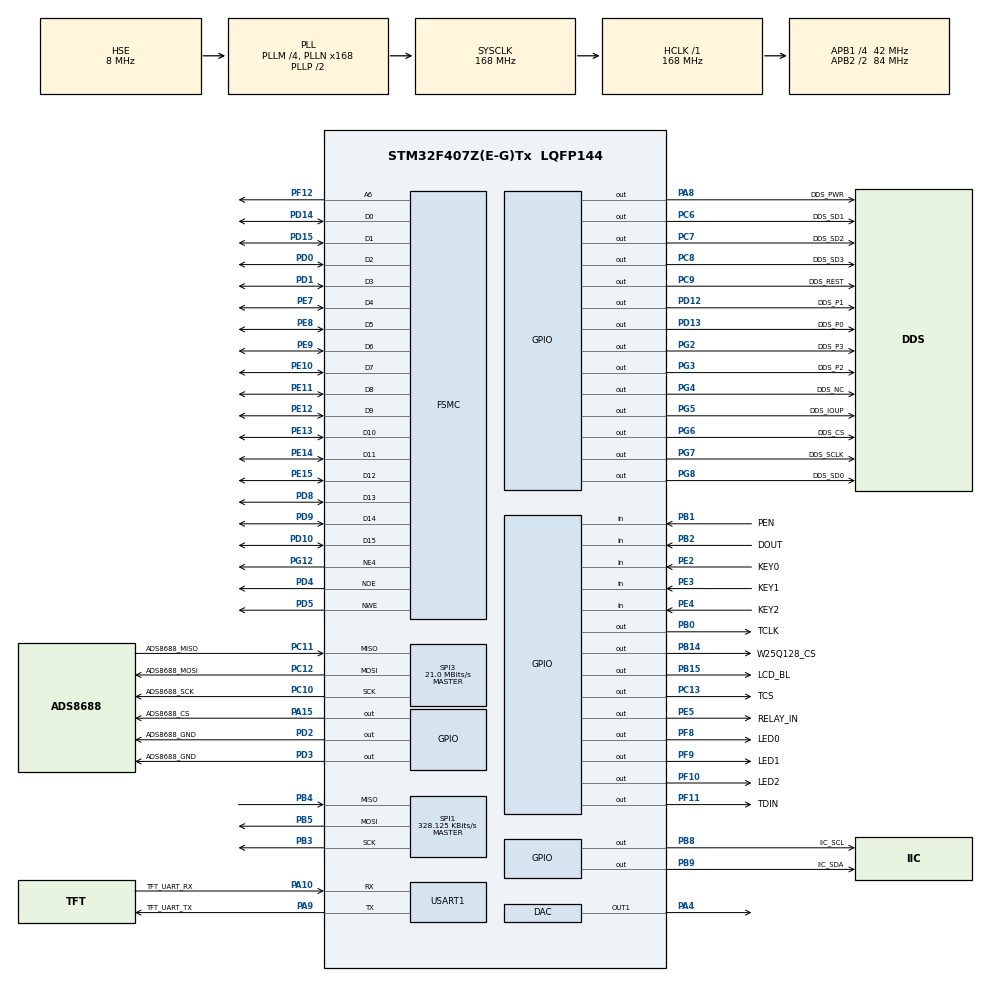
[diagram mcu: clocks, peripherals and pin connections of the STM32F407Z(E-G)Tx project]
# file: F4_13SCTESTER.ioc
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Dma.SPI3_RX.0.Priority=DMA_PRIORITY_LOW
Dma.SPI3_RX.0.FIFOMode=DMA_FIFOMODE_DISABLE
PD12.GPIO_Label=DDS_P1
PH0-OSC_IN.Signal=RCC_OSC_IN
PF10.GPIO_ModeDefaultOutputPP=GPIO_MODE_OUTPUT_PP
SH.FSMC_D1_DA1.0=FSMC_D1,16b-d1
SPI3.Direction=SPI_DIRECTION_2LINES
SPI3.VirtualType=VM_MASTER
SPI1.VirtualType=VM_MASTER
PG4.Signal=GPIO_Output
PG8.Signal=GPIO_Output
PC12.Signal=SPI3_MOSI
PB14.GPIO_Label=W25Q128_CS
PG6.GPIO_Label=DDS_CS
SH.FSMC_NWE.0=FSMC_NWE,Lcd1
PE8.GPIO_PuPd=GPIO_PULLUP
PC6.GPIO_Label=DDS_SD1
PE10.GPIO_PuPd=GPIO_PULLUP
PD10.GPIO_PuPd=GPIO_PULLUP
FSMC.ExtendedBusTurnAroundDuration1=0
PF10.GPIO_PuPd=GPIO_PULLUP
PF8.PinState=GPIO_PIN_SET
PB3.GPIO_Speed=GPIO_SPEED_FREQ_VERY_HIGH
RCC.SYSCLKSource=RCC_SYSCLKSOURCE_PLLCLK
FREERTOS.configENABLE_FPU=1
SPI1.Direction=SPI_DIRECTION_2LINES
PD4.Signal=FSMC_NOE
RCC.APB2TimFreq_Value=168000000
PC7.Signal=GPIO_Output
SPI1.CalculateBaudRate=328.125 KBits/s
PD0.Signal=FSMC_D2_DA2
PD8.Signal=FSMC_D13_DA13
PE5.Signal=GPIO_Output
Dma.SPI3_RX.0.PeriphDataAlignment=DMA_PDATAALIGN_HALFWORD
PF10.GPIO_Label=LED2
Dma.SPI3_RX.0.Direction=DMA_PERIPH_TO_MEMORY
PB2.Signal=GPIO_Input
PB3.Mode=Full_Duplex_Master
PC13-ANTI_TAMP.Signal=GPIO_Output
Dma.SPI3_RX.0.MemDataAlignment=DMA_MDATAALIGN_HALFWORD
SH.FSMC_D10_DA10.0=FSMC_D10,16b-d1
PF8.GPIO_ModeDefaultOutputPP=GPIO_MODE_OUTPUT_PP
PE9.Signal=FSMC_D6_DA6
PB1.GPIO_Label=PEN
NVIC.TIM2_IRQn=true\:0\:0\:false\:false\:true\:false\:false\:true
PG4.GPIO_Label=DDS_NC
PE4.GPIO_Label=KEY2
PE5.PinState=GPIO_PIN_SET
PE2.Signal=GPIO_Input
PD14.GPIO_PuPd=GPIO_PULLUP
PA8.Signal=GPIO_Output
FSMC.BusTurnAroundDuration1=0
PE10.Signal=FSMC_D7_DA7
SH.FSMC_D5_DA5.0=FSMC_D5,16b-d1
PB2.GPIO_PuPd=GPIO_PULLUP
VP_TIM1_VS_ClockSourceINT.Mode=Internal
Mcu.Package=LQFP144
PB9.Signal=GPIO_Output
VP_SYS_VS_tim2.Mode=TIM2
PB1.Signal=GPIO_Input
PB14.GPIO_PuPd=GPIO_PULLUP
NVIC.TimeBase=TIM2_IRQn
SPI3.Mode=SPI_MODE_MASTER
PD12.Signal=GPIO_Output
NVIC.TimeBaseIP=TIM2
PA10.Signal=USART1_RX
PB9.GPIO_PuPd=GPIO_PULLUP
PC8.GPIO_Speed=GPIO_SPEED_FREQ_VERY_HIGH
PC11.Mode=Full_Duplex_Master
PB5.GPIO_Speed=GPIO_SPEED_FREQ_VERY_HIGH
PG8.GPIO_Speed=GPIO_SPEED_FREQ_VERY_HIGH
RCC.APB2CLKDivider=RCC_HCLK_DIV2
SH.FSMC_D3_DA3.0=FSMC_D3,16b-d1
PG12.GPIO_PuPd=GPIO_PULLUP
RCC.APB1TimFreq_Value=84000000
TIM1.Period=105-1
PF9.GPIO_PuPd=GPIO_PULLUP
NVIC.USART1_IRQn=true\:5\:0\:false\:false\:true\:true\:true\:true
PD9.GPIO_PuPd=GPIO_PULLUP
PC6.GPIO_Speed=GPIO_SPEED_FREQ_VERY_HIGH
PA8.GPIO_Speed=GPIO_SPEED_FREQ_VERY_HIGH
PD15.Signal=FSMC_D1_DA1
PG6.GPIO_Speed=GPIO_SPEED_FREQ_VERY_HIGH
PE12.GPIO_PuPd=GPIO_PULLUP
PG12.Signal=FSMC_NE4
FSMC.ExtendedAddressSetupTime1=9
Dma.SPI3_TX.1.MemInc=DMA_MINC_ENABLE
FREERTOS.Tasks01=defaultTask,8,128,StartDefaultTask,Default,NULL,Dynamic,NULL,NULL;LED0_Toggle,44,128,StartLED0Toggle,As weak,NULL,Dynamic,NULL,NULL;LED1_Toggle,52,128,StartLED1Toggle,As weak,NULL,Dynamic,NULL,NULL;TFT_CMD_Process,11,128,TFT_CMD_Process_Start,As weak,NULL,Dynamic,NULL,NULL;FLASH_Data_Auto,10,128,FLASH_Data_AutoUpdate_Start,As weak,NULL,Dynamic,NULL,NULL
PC13-ANTI_TAMP.GPIO_Label=TCS
PG5.Signal=GPIO_Output
PA9.GPIO_Label=TFT_UART_TX
PD3.Signal=GPIO_Output
PB8.GPIO_PuPd=GPIO_PULLUP
PC6.Signal=GPIO_Output
PD1.Signal=FSMC_D3_DA3
SH.FSMC_D9_DA9.0=FSMC_D9,16b-d1
SPI1.CLKPhase=SPI_PHASE_2EDGE
PD1.GPIO_PuPd=GPIO_PULLUP
Dma.SPI3_TX.1.Priority=DMA_PRIORITY_LOW
RCC.APB1CLKDivider=RCC_HCLK_DIV4
PA0-WKUP.Signal=SYS_WKUP
SH.FSMC_D8_DA8.0=FSMC_D8,16b-d1
PF8.GPIO_Label=LED0
PD10.Signal=FSMC_D15_DA15
PF11.GPIO_Speed=GPIO_SPEED_FREQ_VERY_HIGH
PA0-WKUP.Mode=SYS_WakeUp0
PB8.GPIO_Label=IIC_SCL
PA8.GPIO_Label=DDS_PWR
PB14.GPIO_Speed=GPIO_SPEED_FREQ_VERY_HIGH
FSMC.DataSetupTime1=60
PB1.GPIO_Mode=GPIO_MODE_INPUT
PA9.Signal=USART1_TX
Dma.SPI3_TX.1.MemDataAlignment=DMA_MDATAALIGN_HALFWORD
PB4.GPIO_PuPd=GPIO_PULLUP
PB14.Signal=GPIO_Output
PE2.GPIO_PuPd=GPIO_PULLUP
PC12.Mode=Full_Duplex_Master
SH.FSMC_D7_DA7.0=FSMC_D7,16b-d1
PE14.Signal=FSMC_D11_DA11
PE15.Signal=FSMC_D12_DA12
PB15.GPIO_Label=LCD_BL
PE8.Signal=FSMC_D5_DA5
SPI1.Mode=SPI_MODE_MASTER
PG7.GPIO_Label=DDS_SCLK
PE3.GPIO_PuPd=GPIO_PULLUP
PA13.Mode=Serial_Wire
PE4.GPIO_PuPd=GPIO_PULLUP
PC7.GPIO_Label=DDS_SD2
Dma.SPI3_TX.1.PeriphInc=DMA_PINC_DISABLE
PA4.Signal=COMP_DAC1_group
PB5.Signal=SPI1_MOSI
PB5.GPIO_PuPd=GPIO_PULLUP
PE5.GPIO_Label=RELAY_IN
PC12.GPIO_Label=ADS8688_MOSI
USART1.VirtualMode=VM_ASYNC
SH.FSMC_D15_DA15.0=FSMC_D15,16b-d1
ProjectManager.HeapSize=0x200
PD0.GPIO_PuPd=GPIO_PULLUP
NVIC.TIM1_UP_TIM10_IRQn=true\:5\:0\:false\:false\:true\:true\:true\:true
PF9.Signal=GPIO_Output
PF9.GPIO_ModeDefaultOutputPP=GPIO_MODE_OUTPUT_PP
PC9.GPIO_Speed=GPIO_SPEED_FREQ_VERY_HIGH
NVIC.PriorityGroup=NVIC_PRIORITYGROUP_4
PE3.Signal=GPIO_Input
PF12.GPIO_PuPd=GPIO_PULLUP
PG3.GPIO_Label=DDS_P2
PD2.Signal=GPIO_Output
PG5.GPIO_Speed=GPIO_SPEED_FREQ_VERY_HIGH
PF10.PinState=GPIO_PIN_SET
PB0.Signal=GPIO_Output
PD2.GPIO_Label=ADS8688_GND
Mcu.Family=STM32F4
FSMC.AddressSetupTime1=0x0f
PE7.GPIO_PuPd=GPIO_PULLUP
RCC.CortexFreq_Value=168000000
PG6.Signal=GPIO_Output
SH.FSMC_A6.0=FSMC_A6,A6_1
PG2.Signal=GPIO_Output
PC10.Signal=SPI3_SCK
SH.FSMC_D0_DA0.0=FSMC_D0,16b-d1
PF9.GPIO_Speed=GPIO_SPEED_FREQ_VERY_HIGH
PB0.GPIO_Label=TCLK
PD8.GPIO_PuPd=GPIO_PULLUP
PG5.GPIO_Label=DDS_IOUP
PB15.Signal=GPIO_Output
ProjectManager.StackSize=0x400
PG2.GPIO_Speed=GPIO_SPEED_FREQ_VERY_HIGH
VP_FREERTOS_VS_CMSIS_V2.Mode=CMSIS_V2
PD13.Signal=GPIO_Output
PA15.GPIO_Label=ADS8688_CS
Dma.SPI3_RX.0.MemInc=DMA_MINC_ENABLE
TIM1.Prescaler=25-1
SPI1.CLKPolarity=SPI_POLARITY_HIGH
PE5.GPIO_PuPd=GPIO_NOPULL
PE11.GPIO_PuPd=GPIO_PULLUP
PB1.GPIO_PuPd=GPIO_PULLUP
RCC.HCLKFreq_Value=168000000
PF11.GPIO_Label=TDIN
PF12.Signal=FSMC_A6
RCC.AHBFreq_Value=168000000
PH0-OSC_IN.Mode=HSE-External-Oscillator
SPI3.DataSize=SPI_DATASIZE_16BIT
RCC.HSE_VALUE=8000000
PE13.GPIO_PuPd=GPIO_PULLUP
PB3.GPIO_PuPd=GPIO_PULLUP
PB4.Mode=Full_Duplex_Master
PE13.Signal=FSMC_D10_DA10
SH.FSMC_D14_DA14.0=FSMC_D14,16b-d1
PG4.GPIO_Speed=GPIO_SPEED_FREQ_VERY_HIGH
PF8.GPIO_PuPd=GPIO_PULLUP
PA14.Mode=Serial_Wire
PF11.Signal=GPIO_Output
SH.FSMC_D6_DA6.0=FSMC_D6,16b-d1
PC11.GPIO_Label=ADS8688_MISO
PB5.Mode=Full_Duplex_Master
PA10.GPIO_Label=TFT_UART_RX
PE4.Signal=GPIO_Input
SH.FSMC_D4_DA4.0=FSMC_D4,16b-d1
PH1-OSC_OUT.Mode=HSE-External-Oscillator
PD13.GPIO_Label=DDS_P0
PB15.GPIO_PuPd=GPIO_PULLUP
PD15.GPIO_PuPd=GPIO_PULLUP
SH.FSMC_D13_DA13.0=FSMC_D13,16b-d1
PA15.Signal=GPIO_Output
PF8.Signal=GPIO_Output
Dma.SPI3_TX.1.Direction=DMA_MEMORY_TO_PERIPH
PB9.GPIO_Speed=GPIO_SPEED_FREQ_VERY_HIGH
Dma.Request1=SPI3_TX
NVIC.DMA1_Stream0_IRQn=true\:5\:0\:false\:false\:true\:true\:false\:true
SH.FSMC_D2_DA2.0=FSMC_D2,16b-d1
PD3.GPIO_Label=ADS8688_GND
PE7.Signal=FSMC_D4_DA4
Dma.Request0=SPI3_RX
SPI1.BaudRatePrescaler=SPI_BAUDRATEPRESCALER_256
PE2.GPIO_Label=KEY0
PB4.Signal=SPI1_MISO
PG2.GPIO_Label=DDS_P3
RCC.PLLSourceVirtual=RCC_PLLSOURCE_HSE
SH.COMP_DAC1_group.0=DAC_OUT1,DAC_OUT1
SH.FSMC_D12_DA12.0=FSMC_D12,16b-d1
PD12.GPIO_Speed=GPIO_SPEED_FREQ_VERY_HIGH
PG7.Signal=GPIO_Output
PB9.GPIO_Label=IIC_SDA
PA10.Mode=Asynchronous
PC10.GPIO_Label=ADS8688_SCK
Dma.SPI3_RX.0.PeriphInc=DMA_PINC_DISABLE
PC9.GPIO_Label=DDS_REST
PG3.Signal=GPIO_Output
FSMC.ExtendedMode1=FSMC_EXTENDED_MODE_ENABLE
PC11.Signal=SPI3_MISO
PC8.Signal=GPIO_Output
PF10.GPIO_Speed=GPIO_SPEED_FREQ_VERY_HIGH
PC10.Mode=Full_Duplex_Master
Dma.SPI3_TX.1.FIFOMode=DMA_FIFOMODE_DISABLE
PD9.Signal=FSMC_D14_DA14
PD5.Signal=FSMC_NWE
Dma.SPI3_TX.1.Instance=DMA1_Stream5
PB0.GPIO_Speed=GPIO_SPEED_FREQ_VERY_HIGH
PG8.GPIO_Label=DDS_SD0
PC8.GPIO_Label=DDS_SD3
Dma.SPI3_RX.0.Mode=DMA_NORMAL
Dma.SPI3_TX.1.PeriphDataAlignment=DMA_PDATAALIGN_HALFWORD
PA13.Signal=SYS_JTMS-SWDIO
PD4.GPIO_PuPd=GPIO_PULLUP
PA9.Mode=Asynchronous
PB14.PinState=GPIO_PIN_SET
Dma.SPI3_TX.1.Mode=DMA_NORMAL
ProjectManager.TargetToolchain=STM32CubeIDE
NVIC.DMA1_Stream5_IRQn=true\:5\:0\:false\:false\:true\:true\:false\:true
PF9.PinState=GPIO_PIN_SET
PF9.GPIO_Label=LED1
PE11.Signal=FSMC_D8_DA8
RCC.LSE_VALUE=32768
FSMC.ExtendedDataSetupTime1=8
board=custom
PD13.GPIO_Speed=GPIO_SPEED_FREQ_VERY_HIGH
PG12.Mode=NorPsramChipSelect4_1
SPI3.CLKPhase=SPI_PHASE_2EDGE
PC7.GPIO_Speed=GPIO_SPEED_FREQ_VERY_HIGH
RCC.VCOOutputFreq_Value=336000000
PA15.PinState=GPIO_PIN_SET
PB4.GPIO_Speed=GPIO_SPEED_FREQ_VERY_HIGH
PG7.GPIO_Speed=GPIO_SPEED_FREQ_VERY_HIGH
RCC.APB2Freq_Value=84000000
SPI3.CalculateBaudRate=21.0 MBits/s
PF10.Signal=GPIO_Output
PB15.GPIO_Speed=GPIO_SPEED_FREQ_MEDIUM
SPI3.BaudRatePrescaler=SPI_BAUDRATEPRESCALER_2
PH1-OSC_OUT.Signal=RCC_OSC_OUT
PD5.GPIO_PuPd=GPIO_PULLUP
PE14.GPIO_PuPd=GPIO_PULLUP
Mcu.Name=STM32F407Z(E-G)Tx
Dma.SPI3_RX.0.Instance=DMA1_Stream0
PE12.Signal=FSMC_D9_DA9
PD14.Signal=FSMC_D0_DA0
RCC.48MHZClocksFreq_Value=84000000
PB3.Signal=SPI1_SCK
RCC.SYSCLKFreq_VALUE=168000000
PA15.GPIO_Speed=GPIO_SPEED_FREQ_VERY_HIGH
PG3.GPIO_Speed=GPIO_SPEED_FREQ_VERY_HIGH
PA14.Signal=SYS_JTCK-SWCLK
PB2.GPIO_Label=DOUT
PE15.GPIO_PuPd=GPIO_PULLUP
PE5.GPIO_ModeDefaultOutputPP=GPIO_MODE_OUTPUT_OD
SH.FSMC_D11_DA11.0=FSMC_D11,16b-d1
SH.FSMC_NOE.0=FSMC_NOE,Lcd1
RCC.HSI_VALUE=16000000
RCC.PLLM=4
RCC.PLLN=168
PF8.GPIO_Speed=GPIO_SPEED_FREQ_VERY_HIGH
PA15.GPIO_PuPd=GPIO_PULLUP
PE5.GPIO_Speed=GPIO_SPEED_FREQ_VERY_HIGH
PB8.Signal=GPIO_Output
PE3.GPIO_Label=KEY1
PC9.Signal=GPIO_Output
RCC.APB1Freq_Value=42000000
PB8.GPIO_Speed=GPIO_SPEED_FREQ_VERY_HIGH
PB0.GPIO_PuPd=GPIO_PULLUP
PE9.GPIO_PuPd=GPIO_PULLUP

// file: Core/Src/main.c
/* USER CODE BEGIN Header */
/**
  ******************************************************************************
  * @file           : main.c
  * @brief          : Main program body
  ******************************************************************************
  * @attention
  *
  * <h2><center>&copy; Copyright (c) 2021 STMicroelectronics.
  * All rights reserved.</center></h2>
  *
  * This software component is licensed by ST under BSD 3-Clause license,
  * the "License"; You may not use this file except in compliance with the
  * License. You may obtain a copy of the License at:
  *                        opensource.org/licenses/BSD-3-Clause
  *
  ******************************************************************************
  */
/* USER CODE END Header */
#include "main.h"
#include "cmsis_os.h"
#include "dac.h"
#include "dma.h"
#include "spi.h"
#include "tim.h"
#include "usart.h"
#include "gpio.h"
#include "fsmc.h"

/* USER CODE BEGIN Includes */
#include "base.h"
#include "lcd.h"
#include "math.h"
#include "text.h"
#include "touch.h"
#include "w25qxx.h"
#include "data.h"
#include "hmi_user_uart.h"
#include "hmi_driver.h"
#include "ADS8688.h"
#include "AD9959.h"
#include "stdio.h"
#include "output.h"
#include "arm_math.h"
#include "arm_const_structs.h"
/* USER CODE END Includes */

/* USER CODE BEGIN PD */
#define TP_CHECK(x0,y0,x1,y1) tp_dev.x[0] > x0 && tp_dev.y[0] > y0 && tp_dev.x[0] < x1 && tp_dev.y[0] < y1
#define SAMPLE_BEGIN PAout(15)=0;
#define SAMPLE_END   PAout(15)=1;
#define RELAY_NO HAL_GPIO_WritePin(RELAY_IN_GPIO_Port, RELAY_IN_Pin, GPIO_PIN_SET);
#define RELAY_NC HAL_GPIO_WritePin(RELAY_IN_GPIO_Port, RELAY_IN_Pin, GPIO_PIN_RESET);
/* USER CODE END PD */

void SystemClock_Config(void);
void MX_FREERTOS_Init(void);

/* USER CODE BEGIN 0 */
//---------------------------------DEBUG--------------------------------
#define TFT
//#define VSOC

#define SAMPLE_POINT_MAX 2048 //采样点数
float FFT_INPUT [SAMPLE_POINT_MAX];
float FFT_OUTPUT[SAMPLE_POINT_MAX];
float FFT_OUTPUT_REAL[SAMPLE_POINT_MAX];
float WAVE[SAMPLE_POINT_MAX];

float freq = 1000.0f,L_freq = 1000.0f;
float mv   =300.0f,L_mv = 300.0f;

//-----------------------------标志---------------------------------------
extern u8 SAMPLE_END_FLAG;    //采样结束标记
//------------------------------------------------------------------------

//-----------------------------变量---------------------------------------
extern u16 SAMPLE_POINT;       //将要采样的点数
extern s32 BUF[SAMPLE_POINT_MAX];

float CH_VPP_VALUE[5] = {0};
float SCAN_VPP[200];
float SCAN_MAX;
u32   SCAN_MAX_INDEX;
u8    DATA_SHOW[116];
u8    mode = 0; //当前模式 0-待机 1-测量数据 2-幅频特性 3-故障检测

float test = 500.0f;

//----------------------------可储存变量------------------------------------------
SVAR Svar = {
  /*float FFT_COMPENSATE; //补偿FFT的误差*/909.09090909f,
  /*float RMS_COMPENSATE; //补偿RMS     */1134.0f,
  /*float DC_COMPENSATE;  //FFT的直流补偿*/0.25473997f,
  /*float ADS_OFFSET;     //ADS偏置补偿  */32.2000008f,
  /*float C3_NORMAL;      //C3*/98.0f
};

/* USER CODE END 0 */

int main(void)
{

  /* MCU Configuration--------------------------------------------------------*/

  /* Reset of all peripherals, Initializes the Flash interface and the Systick. */
  HAL_Init();

  /* Configure the system clock */
  SystemClock_Config();

  /* Initialize all configured peripherals */
  MX_GPIO_Init();
  MX_DMA_Init();
  MX_FSMC_Init();
  MX_SPI1_Init();
  MX_USART1_UART_Init();
  MX_SPI3_Init();
  MX_DAC_Init();
  MX_TIM1_Init();
  /* USER CODE BEGIN 2 */
  //无时耗
  W25QXX_Init();
  //LCD_Init();
  //font_init();
  //tp_dev.init();
  TFT_Init();
  DATA_INIT();
  Init_AD9959();
  //时耗
  Out_freq(2, 10);
  Out_mV(2, 300);

  /* USER CODE END 2 */

  /* Init scheduler */
  osKernelInitialize();  /* Call init function for freertos objects (in freertos.c) */
  MX_FREERTOS_Init();
  /* Start scheduler */
  osKernelStart();

  /* We should never get here as control is now taken by the scheduler */
  /* Infinite loop */
  while (1)
  {

  }
}

void SystemClock_Config(void)
{
  RCC_OscInitTypeDef RCC_OscInitStruct = {0};
  RCC_ClkInitTypeDef RCC_ClkInitStruct = {0};

  /** Configure the main internal regulator output voltage
  */
  __HAL_RCC_PWR_CLK_ENABLE();
  __HAL_PWR_VOLTAGESCALING_CONFIG(PWR_REGULATOR_VOLTAGE_SCALE1);
  /** Initializes the RCC Oscillators according to the specified parameters
  * in the RCC_OscInitTypeDef structure.
  */
  RCC_OscInitStruct.OscillatorType = RCC_OSCILLATORTYPE_HSE;
  RCC_OscInitStruct.HSEState = RCC_HSE_ON;
  RCC_OscInitStruct.PLL.PLLState = RCC_PLL_ON;
  RCC_OscInitStruct.PLL.PLLSource = RCC_PLLSOURCE_HSE;
  RCC_OscInitStruct.PLL.PLLM = 4;
  RCC_OscInitStruct.PLL.PLLN = 168;
  RCC_OscInitStruct.PLL.PLLP = RCC_PLLP_DIV2;
  RCC_OscInitStruct.PLL.PLLQ = 4;
  if (HAL_RCC_OscConfig(&RCC_OscInitStruct) != HAL_OK)
  {
    Error_Handler();
  }
  /** Initializes the CPU, AHB and APB buses clocks
  */
  RCC_ClkInitStruct.ClockType = RCC_CLOCKTYPE_HCLK|RCC_CLOCKTYPE_SYSCLK
                              |RCC_CLOCKTYPE_PCLK1|RCC_CLOCKTYPE_PCLK2;
  RCC_ClkInitStruct.SYSCLKSource = RCC_SYSCLKSOURCE_PLLCLK;
  RCC_ClkInitStruct.AHBCLKDivider = RCC_SYSCLK_DIV1;
  RCC_ClkInitStruct.APB1CLKDivider = RCC_HCLK_DIV4;
  RCC_ClkInitStruct.APB2CLKDivider = RCC_HCLK_DIV2;

  if (HAL_RCC_ClockConfig(&RCC_ClkInitStruct, FLASH_LATENCY_5) != HAL_OK)
  {
    Error_Handler();
  }
}

 /**
  * @brief  Period elapsed callback in non blocking mode
  * @note   This function is called  when TIM2 interrupt took place, inside
  * HAL_TIM_IRQHandler(). It makes a direct call to HAL_IncTick() to increment
  * a global variable "uwTick" used as application time base.
  * @param  htim : TIM handle
  * @retval None
  */
void HAL_TIM_PeriodElapsedCallback(TIM_HandleTypeDef *htim)
{
  if (htim->Instance == TIM2) {
    HAL_IncTick();
  }
}

void Error_Handler(void)
{
  __disable_irq();
  while (1)
  {
  }
}

/************************ (C) COPYRIGHT STMicroelectronics *****END OF FILE****/

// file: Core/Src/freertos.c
/* USER CODE BEGIN Header */
/**
  ******************************************************************************
  * File Name          : freertos.c
  * Description        : Code for freertos applications
  ******************************************************************************
  * @attention
  *
  * <h2><center>&copy; Copyright (c) 2021 STMicroelectronics.
  * All rights reserved.</center></h2>
  *
  * This software component is licensed by ST under Ultimate Liberty license
  * SLA0044, the "License"; You may not use this file except in compliance with
  * the License. You may obtain a copy of the License at:
  *                             www.st.com/SLA0044
  *
  ******************************************************************************
  */
/* USER CODE END Header */

#include "FreeRTOS.h"
#include "task.h"
#include "main.h"
#include "cmsis_os.h"

/* USER CODE BEGIN PD */
#define TASK void (*)(void *)
/* USER CODE END PD */

/* Definitions for defaultTask */
osThreadId_t defaultTaskHandle;
const osThreadAttr_t defaultTask_attributes = {
  .name = "defaultTask",
  .stack_size = 128 * 4,
  .priority = (osPriority_t) osPriorityLow,
};
/* Definitions for LED0_Toggle */
osThreadId_t LED0_ToggleHandle;
const osThreadAttr_t LED0_Toggle_attributes = {
  .name = "LED0_Toggle",
  .stack_size = 128 * 4,
  .priority = (osPriority_t) osPriorityHigh4,
};
/* Definitions for LED1_Toggle */
osThreadId_t LED1_ToggleHandle;
const osThreadAttr_t LED1_Toggle_attributes = {
  .name = "LED1_Toggle",
  .stack_size = 128 * 4,
  .priority = (osPriority_t) osPriorityRealtime4,
};
/* Definitions for TFT_CMD_Process */
osThreadId_t TFT_CMD_ProcessHandle;
const osThreadAttr_t TFT_CMD_Process_attributes = {
  .name = "TFT_CMD_Process",
  .stack_size = 128 * 4,
  .priority = (osPriority_t) osPriorityLow3,
};
/* Definitions for FLASH_Data_Auto */
osThreadId_t FLASH_Data_AutoHandle;
const osThreadAttr_t FLASH_Data_Auto_attributes = {
  .name = "FLASH_Data_Auto",
  .stack_size = 128 * 4,
  .priority = (osPriority_t) osPriorityLow2,
};

void StartDefaultTask(void *argument);
void StartLED0Toggle(void *argument);
void StartLED1Toggle(void *argument);
void TFT_CMD_Process_Start(void *argument);
void FLASH_Data_AutoUpdate_Start(void *argument);

void MX_FREERTOS_Init(void); /* (MISRA C 2004 rule 8.1) */

void MX_FREERTOS_Init(void) {

  /* Create the thread(s) */
  /* creation of defaultTask */
  defaultTaskHandle = osThreadNew(StartDefaultTask, NULL, &defaultTask_attributes);

  /* creation of LED0_Toggle */
  LED0_ToggleHandle = osThreadNew(StartLED0Toggle, NULL, &LED0_Toggle_attributes);

  /* creation of LED1_Toggle */
  LED1_ToggleHandle = osThreadNew(StartLED1Toggle, NULL, &LED1_Toggle_attributes);

  /* creation of TFT_CMD_Process */
  TFT_CMD_ProcessHandle = osThreadNew(TFT_CMD_Process_Start, NULL, &TFT_CMD_Process_attributes);

  /* creation of FLASH_Data_Auto */
  FLASH_Data_AutoHandle = osThreadNew(FLASH_Data_AutoUpdate_Start, NULL, &FLASH_Data_Auto_attributes);

}

void StartDefaultTask(void *argument)
{
  for(;;)
  {
    osDelay(1);
  }
}

__weak void StartLED0Toggle(void *argument)
{
  for(;;)
  {
    osDelay(1);
  }
}

__weak void StartLED1Toggle(void *argument)
{
  for(;;)
  {
    osDelay(1);
  }
}

__weak void TFT_CMD_Process_Start(void *argument)
{
  for(;;)
  {
    osDelay(1);
  }
}

__weak void FLASH_Data_AutoUpdate_Start(void *argument)
{
  for(;;)
  {
    osDelay(1);
  }
}

/************************ (C) COPYRIGHT STMicroelectronics *****END OF FILE****/
